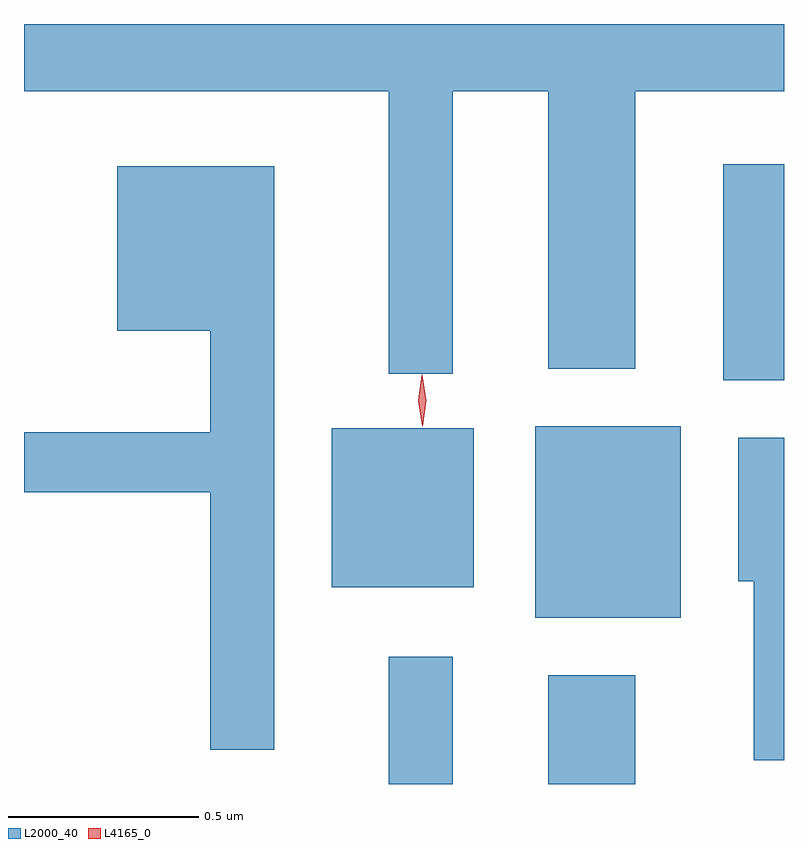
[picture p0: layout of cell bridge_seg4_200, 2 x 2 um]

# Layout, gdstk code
import gdstk
lib = gdstk.Library(unit=1e-6, precision=1e-09)
def R(c, l, rs):  # rectangles x0, y0, x1, y1
    for r in rs: c.add(gdstk.rectangle(r[:2], r[2:], *l))
def P(c, l, *ps):  # polygons
    for p in ps: c.add(gdstk.Polygon(p, *l))
L2000_40 = (2000, 40)
L4165_0 = (4165, 0)

bridge_seg4_200 = lib.new_cell('bridge_seg4_200')
R(bridge_seg4_200, L2000_40, [(1071.081,1259.613,1071.249,1259.948), (1071.501,1259.613,1071.729,1259.899), (1071.466,1260.051,1071.849,1260.554), (1070.931,1260.131,1071.304,1260.549), (1071.961,1260.676,1072.121,1261.244)])
P(bridge_seg4_200, L2000_40, [(1070.121,1261.436),(1071.081,1261.436),(1071.081,1260.693),(1071.249,1260.693),(1071.249,1261.436),(1071.501,1261.436),(1071.501,1260.706),(1071.729,1260.706),(1071.729,1261.436),(1072.121,1261.436),(1072.121,1261.613),(1070.121,1261.613)],
  [(1070.779,1261.239),(1070.366,1261.239),(1070.366,1260.806),(1070.611,1260.806),(1070.611,1260.539),(1070.121,1260.539),(1070.121,1260.381),(1070.611,1260.381),(1070.611,1259.703),(1070.779,1259.703)],
  [(1072.121,1260.524),(1072.001,1260.524),(1072.001,1260.146),(1072.041,1260.146),(1072.041,1259.676),(1072.121,1259.676)])
P(bridge_seg4_200, L4165_0, [(1071.17,1260.558),(1071.169,1260.559),(1071.159,1260.622),(1071.168,1260.686),(1071.169,1260.687),(1071.169,1260.686),(1071.179,1260.623),(1071.17,1260.559)],
  [(1071.169,1260.554),(1071.169,1260.554),(1071.159,1260.622),(1071.168,1260.69),(1071.169,1260.69),(1071.169,1260.69),(1071.179,1260.622),(1071.17,1260.554)])

lib.write_gds('bridge_seg4_200.gds')
